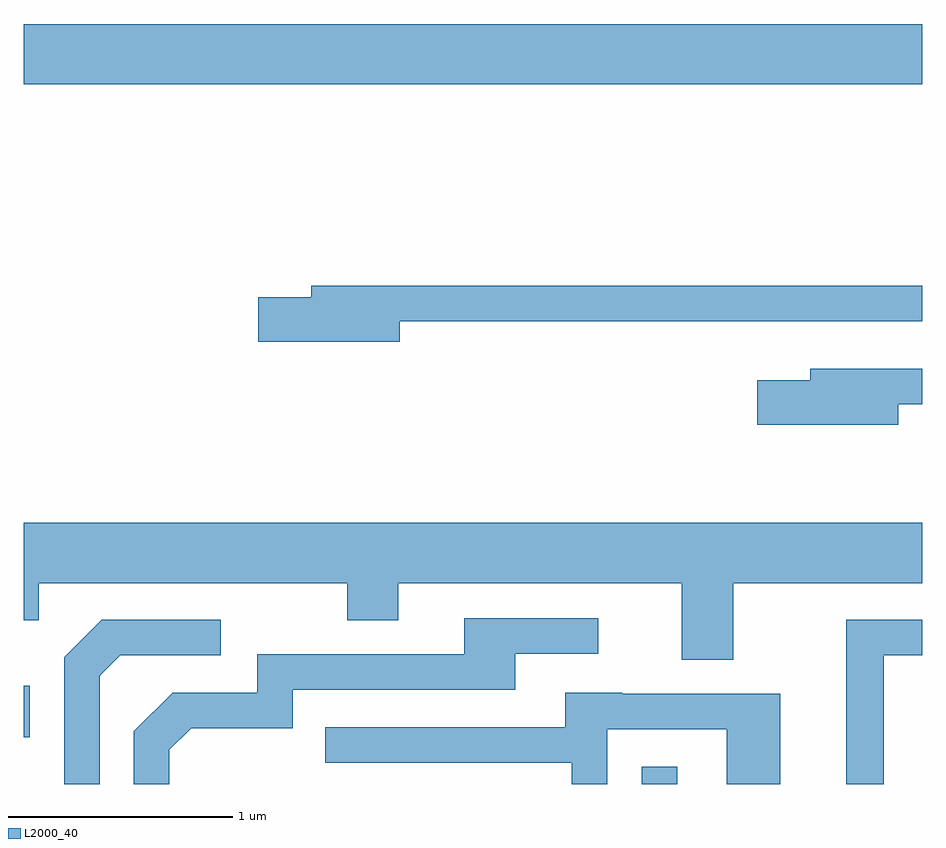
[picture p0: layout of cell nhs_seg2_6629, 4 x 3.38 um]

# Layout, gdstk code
import gdstk
lib = gdstk.Library(unit=1e-6, precision=1e-09)
def R(c, l, rs):  # rectangles x0, y0, x1, y1
    for r in rs: c.add(gdstk.rectangle(r[:2], r[2:], *l))
def P(c, l, *ps):  # polygons
    for p in ps: c.add(gdstk.Polygon(p, *l))
L2000_40 = (2000, 40)

nhs_seg2_6629 = lib.new_cell('nhs_seg2_6629')
R(nhs_seg2_6629, L2000_40, [(382.361,1111.802,382.519,1111.878), (379.611,1112.011,379.639,1112.239), (379.611,1114.916,383.611,1115.184)])
P(nhs_seg2_6629, L2000_40, [(381.284,1113.861),(383.611,1113.861),(383.611,1114.019),(380.891,1114.019),(380.891,1113.969),(380.656,1113.969),(380.656,1113.771),(381.284,1113.771)],
  [(383.504,1113.491),(383.611,1113.491),(383.611,1113.649),(383.111,1113.649),(383.111,1113.599),(382.876,1113.599),(382.876,1113.401),(383.504,1113.401)],
  [(382.769,1112.696),(383.611,1112.696),(383.611,1112.964),(379.611,1112.964),(379.611,1112.531),(379.679,1112.531),(379.679,1112.696),(381.051,1112.696),(381.051,1112.531),(381.279,1112.531),(381.279,1112.696),(382.541,1112.696),(382.541,1112.356),(382.769,1112.356)],
  [(380.259,1111.954),(380.357,1112.051),(380.809,1112.051),(380.809,1112.221),(381.799,1112.221),(381.799,1112.381),(382.168,1112.381),(382.168,1112.539),(381.571,1112.539),(381.571,1112.379),(380.651,1112.379),(380.651,1112.209),(380.274,1112.209),(380.101,1112.037),(380.101,1111.802),(380.259,1111.802)],
  [(383.439,1112.376),(383.611,1112.376),(383.611,1112.534),(383.271,1112.534),(383.271,1111.802),(383.439,1111.802)],
  [(379.949,1112.284),(380.042,1112.376),(380.488,1112.376),(380.488,1112.534),(379.959,1112.534),(379.791,1112.367),(379.791,1111.802),(379.949,1111.802)],
  [(382.209,1112.046),(382.741,1112.046),(382.741,1111.802),(382.979,1111.802),(382.979,1112.204),(382.275,1112.204),(382.275,1112.209),(382.021,1112.209),(382.021,1112.054),(380.953,1112.054),(380.953,1111.896),(382.051,1111.896),(382.051,1111.802),(382.209,1111.802)])

lib.write_gds('nhs_seg2_6629.gds')
